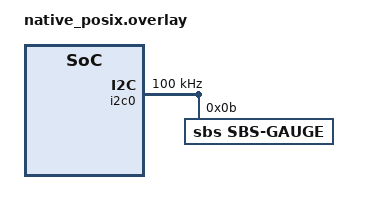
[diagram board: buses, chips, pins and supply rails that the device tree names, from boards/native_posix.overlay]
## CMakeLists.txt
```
# SPDX-License-Identifier: Apache-2.0

cmake_minimum_required(VERSION 3.28.0)
find_package(Zephyr REQUIRED HINTS $ENV{ZEPHYR_BASE})
project(device)

FILE(GLOB app_sources src/test_sbs_gauge.c)
target_sources(app PRIVATE ${app_sources})
```

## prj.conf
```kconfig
CONFIG_ZTEST=y
CONFIG_SENSOR=y
CONFIG_I2C=y
CONFIG_TEST_USERSPACE=y
CONFIG_LOG=y
```

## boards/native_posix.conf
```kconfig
# Copyright (c) 2022 Nordic Semiconductor ASA
# SPDX-License-Identifier: Apache-2.0

CONFIG_EMUL=y
```

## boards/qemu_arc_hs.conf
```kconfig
# Copyright (c) 2023 Google LLC
# SPDX-License-Identifier: Apache-2.0

CONFIG_EMUL=y
```

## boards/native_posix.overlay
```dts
/*
 * Copyright (c) 2022 Leica Geosystems AG
 *
 * SPDX-License-Identifier: Apache-2.0
 */

&i2c0 {
	clock-frequency = <I2C_BITRATE_STANDARD>;
	smartbattery: sbs_gauge@b {
		compatible = "sbs,sbs-gauge";
		reg = <0x0B>;
		label = "sbs-gauge";
		status = "okay";
	};
};
```

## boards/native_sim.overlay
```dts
/*
 * Copyright (c) 2022 Leica Geosystems AG
 *
 * SPDX-License-Identifier: Apache-2.0
 */

&i2c0 {
	clock-frequency = <I2C_BITRATE_STANDARD>;

	smartbattery: sbs_gauge@b {
		compatible = "sbs,sbs-gauge";
		reg = <0x0b>;
		status = "okay";
	};
};
```

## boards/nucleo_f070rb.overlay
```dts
/*
 * Copyright (c) 2021 Leica Geosystems AG
 *
 * SPDX-License-Identifier: Apache-2.0
 */

&i2c1 {
	clock-frequency = <I2C_BITRATE_STANDARD>;
	timings = <32000000 I2C_BITRATE_STANDARD 0x10e03e52>;

	smartbattery0: smartbattery@b {
		compatible = "sbs,sbs-gauge";
		reg = <0x0b>;
		status = "okay";
	};
};
```

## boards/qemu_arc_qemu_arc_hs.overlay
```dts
/*
 * Copyright (c) 2023 Google LLC
 *
 * SPDX-License-Identifier: Apache-2.0
 */

#include <zephyr/dt-bindings/i2c/i2c.h>

/ {
	/* qemu_cortex_a9 board isn't configured with an I2C node */
	fake_i2c_bus: i2c@100 {
		compatible = "zephyr,i2c-emul-controller";
		reg = <0x100 4>;
		clock-frequency = <I2C_BITRATE_STANDARD>;
		#address-cells = <1>;
		#size-cells = <0>;
		status = "okay";
	};
};

&fake_i2c_bus {
	compatible = "zephyr,i2c-emul-controller";
	clock-frequency = <I2C_BITRATE_STANDARD>;

	smartbattery0: smartbattery@b {
		compatible = "sbs,sbs-gauge";
		reg = <0x0b>;
		status = "okay";
	};
};
```

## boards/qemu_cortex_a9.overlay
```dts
/*
 * Copyright (c) 2022 Google LLC
 *
 * SPDX-License-Identifier: Apache-2.0
 */

#include <zephyr/dt-bindings/i2c/i2c.h>

/ {
	/* qemu_cortex_a9 board isn't configured with an I2C node */
	fake_i2c_bus: i2c@100 {
		compatible = "zephyr,i2c-emul-controller";
		reg = <0x100 4>;
		clock-frequency = <I2C_BITRATE_STANDARD>;
		#address-cells = <1>;
		#size-cells = <0>;
		status = "okay";
	};
};

&fake_i2c_bus {
	compatible = "zephyr,i2c-emul-controller";
	clock-frequency = <I2C_BITRATE_STANDARD>;

	smartbattery0: smartbattery@b {
		compatible = "sbs,sbs-gauge";
		reg = <0x0b>;
		status = "okay";
	};
};
```

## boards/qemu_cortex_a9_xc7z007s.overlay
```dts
/*
 * Copyright (c) 2022 Google LLC
 *
 * SPDX-License-Identifier: Apache-2.0
 */

#include <zephyr/dt-bindings/i2c/i2c.h>

/ {
	/* qemu_cortex_a9 board isn't configured with an I2C node */
	fake_i2c_bus: i2c@100 {
		status = "okay";
		compatible = "zephyr,i2c-emul-controller";
		clock-frequency = <I2C_BITRATE_STANDARD>;
		#address-cells = <1>;
		#size-cells = <0>;
		reg = <0x100 4>;
	};
};

&fake_i2c_bus {
	clock-frequency = <I2C_BITRATE_STANDARD>;
	compatible = "zephyr,i2c-emul-controller";
	smartbattery0: smartbattery@b {
		compatible = "sbs,sbs-gauge";
		reg = <0x0B>;
		status = "okay";
	};
};
```

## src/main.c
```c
/*
 * Copyright (c) 2021 Leica Geosystems AG
 *
 * SPDX-License-Identifier: Apache-2.0
 */

#include <zephyr/ztest.h>

#include "test_sbs_gauge.h"

void test_main(void)
{
	ztest_test_suite(framework_tests,
		ztest_unit_test(test_get_gauge_voltage),
		ztest_unit_test(test_get_gauge_current),
		ztest_unit_test(test_get_temperature),
		ztest_unit_test(test_get_soc),
		ztest_unit_test(test_get_full_charge_capacity),
		ztest_unit_test(test_get_rem_charge_capacity),
		ztest_unit_test(test_get_nom_avail_capacity),
		ztest_unit_test(test_get_full_avail_capacity),
		ztest_unit_test(test_get_average_time_to_empty),
		ztest_unit_test(test_get_average_time_to_full),
		ztest_unit_test(test_get_cycle_count),
		ztest_unit_test(test_not_supported_channel)
	);

	ztest_run_test_suite(framework_tests);
}
```

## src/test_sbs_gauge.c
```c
/*
 * Copyright (c) 2021 Leica Geosystems AG
 *
 * SPDX-License-Identifier: Apache-2.0
 */

#include <zephyr/drivers/sensor.h>
#include <zephyr/kernel.h>
#include <zephyr/ztest.h>

const struct device *get_fuel_gauge_device(void)
{
	const struct device *const dev = DEVICE_DT_GET_ANY(sbs_sbs_gauge);

	zassert_true(device_is_ready(dev), "Fuel Gauge not found");

	return dev;
}

/* Helper that only checks channel access is supported. */
static void test_get_sensor_value(int16_t channel)
{
	struct sensor_value value;
	const struct device *dev = get_fuel_gauge_device();

	zassert_ok(sensor_sample_fetch_chan(dev, channel), "Sample fetch failed");
	zassert_ok(sensor_channel_get(dev, channel, &value), "Get sensor value failed");
}

/* Helper for verifying a sensor channel fetch is not supported */
static void test_get_sensor_value_not_supp(int16_t channel)
{
	const struct device *dev = get_fuel_gauge_device();

	zassert_true(sensor_sample_fetch_chan(dev, channel) == -ENOTSUP, "Invalid function");
}

ZTEST(sbs_gauge, test_get_gauge_voltage)
{
	test_get_sensor_value(SENSOR_CHAN_GAUGE_VOLTAGE);
}

ZTEST(sbs_gauge, test_get_gauge_avg_current)
{
	test_get_sensor_value(SENSOR_CHAN_GAUGE_AVG_CURRENT);
}

ZTEST(sbs_gauge, test_get_gauge_get_temperature)
{
	test_get_sensor_value(SENSOR_CHAN_GAUGE_TEMP);
}

ZTEST(sbs_gauge, test_get_state_of_charge)
{
	test_get_sensor_value(SENSOR_CHAN_GAUGE_STATE_OF_CHARGE);
}

ZTEST(sbs_gauge, test_get_full_charge_capacity)
{
	test_get_sensor_value(SENSOR_CHAN_GAUGE_FULL_CHARGE_CAPACITY);
}

ZTEST(sbs_gauge, test_get_rem_charge_capacity)
{
	test_get_sensor_value(SENSOR_CHAN_GAUGE_REMAINING_CHARGE_CAPACITY);
}

ZTEST(sbs_gauge, test_get_nom_avail_capacity)
{
	test_get_sensor_value(SENSOR_CHAN_GAUGE_NOM_AVAIL_CAPACITY);
}

ZTEST(sbs_gauge, test_get_full_avail_capacity)
{
	test_get_sensor_value(SENSOR_CHAN_GAUGE_FULL_AVAIL_CAPACITY);
}

ZTEST(sbs_gauge, test_get_average_time_to_empty)
{
	test_get_sensor_value(SENSOR_CHAN_GAUGE_TIME_TO_EMPTY);
}

ZTEST(sbs_gauge, test_get_average_time_to_full)
{
	test_get_sensor_value(SENSOR_CHAN_GAUGE_TIME_TO_FULL);
}

ZTEST(sbs_gauge, test_get_cycle_count)
{
	test_get_sensor_value(SENSOR_CHAN_GAUGE_CYCLE_COUNT);
}

ZTEST(sbs_gauge, test_not_supported_channel)
{
	uint8_t channel;

	for (channel = SENSOR_CHAN_ACCEL_X; channel <= SENSOR_CHAN_RPM; channel++) {
		test_get_sensor_value_not_supp(channel);
	}
	/* SOH is not defined in the SBS 1.1 specifications */
	test_get_sensor_value_not_supp(SENSOR_CHAN_GAUGE_STATE_OF_HEALTH);

	/* These readings are not presently supported by the sbs_gauge driver. */
	test_get_sensor_value_not_supp(SENSOR_CHAN_GAUGE_STDBY_CURRENT);
	test_get_sensor_value_not_supp(SENSOR_CHAN_GAUGE_MAX_LOAD_CURRENT);
	test_get_sensor_value_not_supp(SENSOR_CHAN_GAUGE_DESIRED_VOLTAGE);
	test_get_sensor_value_not_supp(SENSOR_CHAN_GAUGE_DESIRED_CHARGING_CURRENT);
}

ZTEST_SUITE(sbs_gauge, NULL, NULL, NULL, NULL, NULL);
```

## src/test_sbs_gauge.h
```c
/*
 * Copyright (c) 2021 Leica Geosystems AG
 *
 * SPDX-License-Identifier: Apache-2.0
 */

#ifndef __TEST_SBS_GAUGE_H_
#define __TEST_SBS_GAUGE_H_

const struct device *get_fuel_gauge_device(void);

void test_get_sensor_value(int16_t channel);
void test_get_sensor_value_not_supp(int16_t channel);

void test_get_gauge_voltage(void);
void test_get_gauge_current(void);
void test_get_stdby_current(void);
void test_get_max_load_current(void);
void test_get_temperature(void);
void test_get_soc(void);
void test_get_full_charge_capacity(void);
void test_get_rem_charge_capacity(void);
void test_get_nom_avail_capacity(void);
void test_get_full_avail_capacity(void);
void test_get_average_power(void);
void test_get_average_time_to_empty(void);
void test_get_average_time_to_full(void);
void test_get_cycle_count(void);
void test_get_design_voltage(void);
void test_get_desired_voltage(void);
void test_get_desired_chg_current(void);

void test_not_supported_channel(void);

#endif /* __TEST_SBS_GAUGE_H_ */
```
